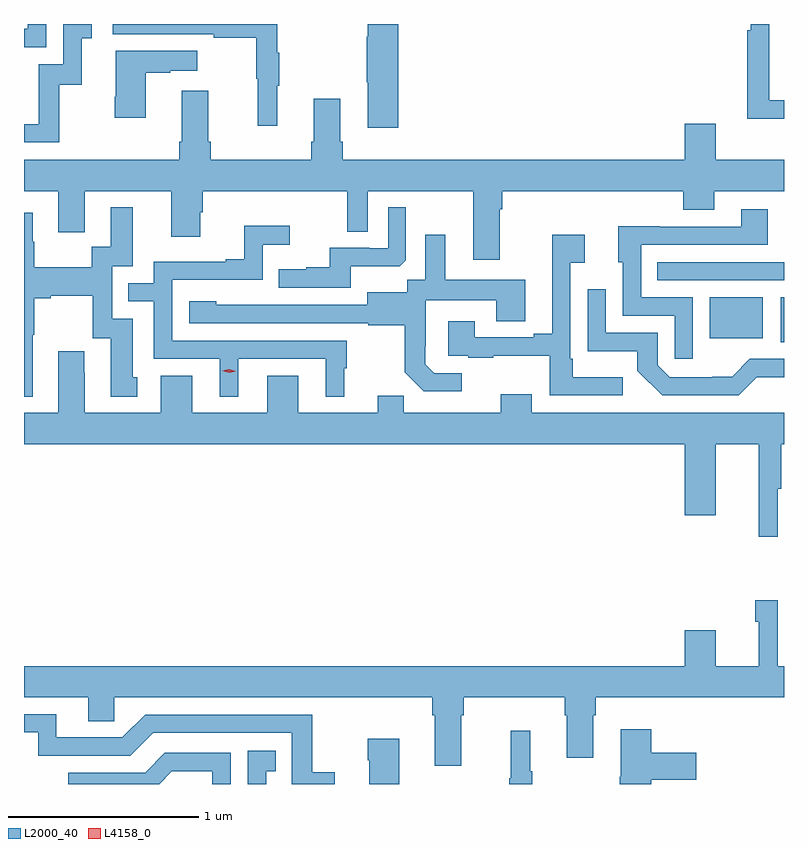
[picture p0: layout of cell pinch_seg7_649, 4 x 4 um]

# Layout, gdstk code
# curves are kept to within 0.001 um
import gdstk
lib = gdstk.Library(unit=1e-6, precision=1e-09)
def R(c, l, rs):  # rectangles x0, y0, x1, y1
    for r in rs: c.add(gdstk.rectangle(r[:2], r[2:], *l))
def P(c, l, *ps):  # polygons
    for p in ps: c.add(gdstk.Polygon(p, *l))
L2000_40 = (2000, 40)
L4158_0 = (4158, 0)

pinch_seg7_649 = lib.new_cell('pinch_seg7_649')
R(pinch_seg7_649, L2000_40, [(201.476,1013.141,201.494,1013.377), (201.104,1013.162,201.382,1013.377), (200.827,1013.466,201.494,1013.562), (199.041,1014.813,199.138,1014.815)])
P(pinch_seg7_649, L2000_40, [(198.827,1014.491),(198.838,1014.491),(198.838,1014.665),(198.827,1014.665),(198.827,1014.815),(197.961,1014.815),(197.961,1014.762),(198.493,1014.762),(198.493,1014.742),(198.717,1014.742),(198.717,1014.528),(198.724,1014.528),(198.724,1014.279),(198.827,1014.279)],
  [(197.61,1014.815),(197.514,1014.815),(197.514,1014.789),(197.494,1014.789),(197.494,1014.693),(197.61,1014.693)],
  [(197.68,1014.495),(197.798,1014.495),(197.798,1014.741),(197.851,1014.741),(197.851,1014.815),(197.7,1014.815),(197.7,1014.603),(197.571,1014.603),(197.571,1014.288),(197.494,1014.288),(197.494,1014.192),(197.68,1014.192)],
  [(201.494,1014.414),(201.417,1014.414),(201.417,1014.815),(201.32,1014.815),(201.32,1014.782),(201.301,1014.782),(201.301,1014.317),(201.494,1014.317)],
  [(199.463,1014.815),(199.304,1014.815),(199.304,1014.749),(199.297,1014.749),(199.297,1014.508),(199.304,1014.508),(199.304,1014.27),(199.463,1014.27)],
  [(198.136,1014.559),(198.263,1014.559),(198.263,1014.569),(198.406,1014.569),(198.406,1014.673),(197.978,1014.673),(197.978,1014.433),(197.971,1014.433),(197.971,1014.321),(198.136,1014.321)],
  [(199.999,1013.84),(200.012,1013.84),(200.012,1013.936),(200.963,1013.936),(200.963,1013.837),(201.127,1013.837),(201.127,1013.936),(201.494,1013.936),(201.494,1014.1),(201.136,1014.1),(201.136,1014.289),(200.972,1014.289),(200.972,1014.1),(199.172,1014.1),(199.172,1014.196),(199.159,1014.196),(199.159,1014.421),(199.019,1014.421),(199.019,1014.196),(199.007,1014.196),(199.007,1014.1),(198.476,1014.1),(198.476,1014.196),(198.463,1014.196),(198.463,1014.463),(198.323,1014.463),(198.323,1014.196),(198.311,1014.196),(198.311,1014.1),(197.494,1014.1),(197.494,1013.936),(197.675,1013.936),(197.675,1013.718),(197.815,1013.718),(197.815,1013.936),(198.269,1013.936),(198.269,1013.694),(198.421,1013.694),(198.421,1013.823),(198.434,1013.823),(198.434,1013.936),(199.194,1013.936),(199.194,1013.722),(199.302,1013.722),(199.302,1013.936),(199.859,1013.936),(199.859,1013.574),(199.999,1013.574)],
  [(199.213,1013.54),(199.471,1013.54),(199.503,1013.571),(199.503,1013.851),(199.41,1013.851),(199.41,1013.634),(199.31,1013.634),(199.31,1013.637),(199.103,1013.637),(199.103,1013.536),(198.979,1013.536),(198.979,1013.524),(198.835,1013.524),(198.835,1013.427),(199.213,1013.427)],
  [(197.539,1013.179),(197.547,1013.179),(197.547,1013.372),(197.635,1013.372),(197.635,1013.384),(197.855,1013.384),(197.855,1013.16),(197.951,1013.16),(197.951,1012.854),(198.091,1012.854),(198.091,1012.956),(198.067,1012.956),(198.067,1013.265),(197.958,1013.265),(197.958,1013.541),(198.067,1013.541),(198.067,1013.851),(197.951,1013.851),(197.951,1013.642),(197.85,1013.642),(197.85,1013.536),(197.547,1013.536),(197.547,1013.67),(197.539,1013.67),(197.539,1013.821),(197.494,1013.821),(197.494,1012.853),(197.539,1012.853)],
  [(201.015,1013.376),(200.742,1013.376),(200.742,1013.652),(201.409,1013.652),(201.409,1013.839),(201.269,1013.839),(201.269,1013.748),(200.839,1013.748),(200.839,1013.75),(200.621,1013.75),(200.621,1013.562),(200.646,1013.562),(200.646,1013.28),(200.919,1013.28),(200.919,1013.052),(201.015,1013.052)],
  [(198.622,1013.052),(199.082,1013.052),(199.082,1012.853),(199.18,1012.853),(199.18,1013.004),(199.192,1013.004),(199.192,1013.148),(198.273,1013.148),(198.273,1013.469),(198.75,1013.469),(198.75,1013.654),(198.892,1013.654),(198.892,1013.753),(198.652,1013.753),(198.652,1013.578),(198.557,1013.578),(198.557,1013.565),(198.177,1013.565),(198.177,1013.451),(198.043,1013.451),(198.043,1013.355),(198.177,1013.355),(198.177,1013.052),(198.524,1013.052),(198.524,1012.853),(198.622,1012.853)],
  [(200.644,1012.957),(200.383,1012.957),(200.383,1013.053),(200.37,1013.053),(200.37,1013.558),(200.446,1013.558),(200.446,1013.707),(200.273,1013.707),(200.273,1013.185),(200.177,1013.185),(200.177,1013.166),(199.867,1013.166),(199.867,1013.251),(199.727,1013.251),(199.727,1013.07),(199.831,1013.07),(199.831,1013.058),(199.963,1013.058),(199.963,1013.069),(200.262,1013.069),(200.262,1012.86),(200.644,1012.86)],
  [(199.798,1012.977),(199.653,1012.977),(199.606,1013.024),(199.606,1013.119),(199.608,1013.119),(199.608,1013.36),(199.979,1013.36),(199.979,1013.251),(200.131,1013.251),(200.131,1013.47),(199.711,1013.47),(199.711,1013.707),(199.607,1013.707),(199.607,1013.468),(199.512,1013.468),(199.512,1013.404),(199.301,1013.404),(199.301,1013.337),(198.507,1013.338),(198.507,1013.356),(198.363,1013.356),(198.363,1013.241),(199.305,1013.241),(199.305,1013.229),(199.497,1013.229),(199.497,1012.983),(199.597,1012.883),(199.798,1012.883)],
  [(201.35,1012.955),(201.494,1012.955),(201.494,1013.052),(201.315,1013.052),(201.221,1012.958),(201.116,1012.958),(201.116,1012.956),(200.892,1012.956),(200.829,1013.019),(200.829,1013.19),(200.556,1013.19),(200.556,1013.419),(200.46,1013.419),(200.46,1013.093),(200.722,1013.093),(200.722,1012.991),(200.852,1012.86),(201.255,1012.86)],
  [(201.461,1012.368),(201.479,1012.368),(201.479,1012.604),(201.494,1012.604),(201.494,1012.768),(200.167,1012.768),(200.167,1012.867),(200.003,1012.867),(200.003,1012.768),(199.493,1012.768),(199.493,1012.859),(199.355,1012.859),(199.355,1012.768),(198.937,1012.768),(198.937,1012.963),(198.773,1012.963),(198.773,1012.768),(198.379,1012.768),(198.379,1012.963),(198.215,1012.963),(198.215,1012.768),(197.815,1012.768),(197.815,1012.979),(197.812,1012.979),(197.812,1013.092),(197.675,1013.092),(197.675,1012.768),(197.494,1012.768),(197.494,1012.604),(200.972,1012.604),(200.972,1012.23),(201.136,1012.23),(201.136,1012.604),(201.361,1012.604),(201.361,1012.116),(201.461,1012.116)],
  [(199.795,1011.176),(199.808,1011.176),(199.808,1011.272),(200.339,1011.272),(200.339,1011.176),(200.351,1011.176),(200.351,1010.952),(200.491,1010.952),(200.491,1011.176),(200.504,1011.176),(200.504,1011.272),(201.494,1011.272),(201.494,1011.436),(201.46,1011.436),(201.46,1011.781),(201.343,1011.781),(201.343,1011.668),(201.361,1011.668),(201.361,1011.436),(201.136,1011.436),(201.136,1011.625),(200.972,1011.625),(200.972,1011.436),(197.494,1011.436),(197.494,1011.272),(197.831,1011.272),(197.831,1011.145),(197.97,1011.145),(197.97,1011.272),(199.643,1011.272),(199.643,1011.176),(199.655,1011.176),(199.655,1010.91),(199.795,1010.91)],
  [(199.13,1010.878),(199.012,1010.878),(199.012,1011.18),(198.132,1011.18),(198.012,1011.06),(197.665,1011.06),(197.665,1011.183),(197.494,1011.183),(197.494,1011.087),(197.568,1011.087),(197.568,1010.964),(198.054,1010.964),(198.174,1011.084),(198.903,1011.084),(198.903,1010.815),(199.13,1010.815)],
  [(200.795,1010.837),(201.031,1010.837),(201.031,1010.979),(200.795,1010.979),(200.795,1011.103),(200.636,1011.103),(200.636,1010.853),(200.629,1010.853),(200.629,1010.815),(200.795,1010.815)],
  [(200.17,1010.881),(200.159,1010.881),(200.159,1011.094),(200.056,1011.094),(200.056,1010.844),(200.049,1010.844),(200.049,1010.815),(200.17,1010.815)],
  [(199.468,1011.052),(199.303,1011.052),(199.303,1010.939),(199.31,1010.939),(199.31,1010.815),(199.468,1010.815)],
  [(198.769,1010.883),(198.818,1010.883),(198.818,1010.989),(198.672,1010.989),(198.672,1010.815),(198.769,1010.815)],
  [(198.272,1010.882),(198.486,1010.882),(198.486,1010.815),(198.582,1010.815),(198.582,1010.979),(198.236,1010.979),(198.131,1010.874),(197.728,1010.874),(197.728,1010.815),(198.205,1010.815)])
P(pinch_seg7_649, L4158_0, [(198.573,1012.979),(198.538,1012.99),(198.537,1012.99),(198.538,1012.991),(198.573,1012.999),(198.608,1012.988),(198.609,1012.988),(198.608,1012.988)])

lib.write_gds('pinch_seg7_649.gds')
